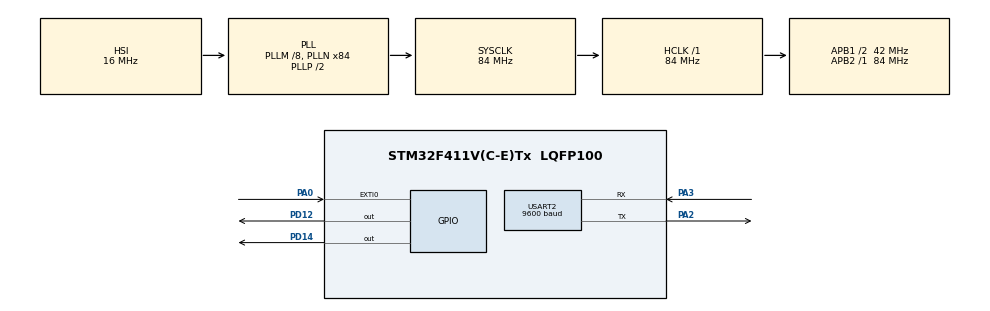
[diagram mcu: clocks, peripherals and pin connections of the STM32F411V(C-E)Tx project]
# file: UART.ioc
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Mcu.Family=STM32F4
Mcu.Name=STM32F411V(C-E)Tx
Mcu.Package=LQFP100
NVIC.EXTI0_IRQn=true\:0\:0\:false\:false\:true\:true\:true\:true
NVIC.PriorityGroup=NVIC_PRIORITYGROUP_0
NVIC.TIM2_IRQn=true\:0\:0\:false\:false\:true\:true\:true\:true
NVIC.USART2_IRQn=true\:0\:0\:false\:false\:true\:true\:true\:true
PA0-WKUP.GPIO_PuPd=GPIO_PULLDOWN
PA0-WKUP.Signal=GPXTI0
PA2.Mode=Asynchronous
PA2.Signal=USART2_TX
PA3.Mode=Asynchronous
PA3.Signal=USART2_RX
PD12.GPIO_PuPd=GPIO_NOPULL
PD12.Signal=GPIO_Output
PD13.Signal=S_TIM4_CH2
PD14.Signal=GPIO_Output
ProjectManager.HeapSize=0x200
ProjectManager.StackSize=0x400
ProjectManager.TargetToolchain=STM32CubeIDE
RCC.48MHZClocksFreq_Value=21000000
RCC.AHBFreq_Value=84000000
RCC.APB1CLKDivider=RCC_HCLK_DIV2
RCC.APB1Freq_Value=42000000
RCC.APB1TimFreq_Value=84000000
RCC.APB2Freq_Value=84000000
RCC.APB2TimFreq_Value=84000000
RCC.CortexFreq_Value=84000000
RCC.HCLKFreq_Value=84000000
RCC.HSE_VALUE=8000000
RCC.HSI_VALUE=16000000
RCC.LSE_VALUE=32768
RCC.PLLI2SM=5
RCC.PLLI2SN=200
RCC.PLLM=8
RCC.PLLN=84
RCC.PLLQ=8
RCC.SYSCLKFreq_VALUE=84000000
RCC.SYSCLKSource=RCC_SYSCLKSOURCE_PLLCLK
RCC.VCOOutputFreq_Value=168000000
SH.S_TIM4_CH2.0=TIM4_CH2
TIM2.Period=99
TIM2.Prescaler=8399
TIM4.Period=4999
TIM4.Prescaler=83
USART2.BaudRate=9600
USART2.VirtualMode=VM_ASYNC
VP_TIM2_VS_ClockSourceINT.Mode=Internal
VP_TIM4_VS_ClockSourceINT.Mode=Internal
board=STM32F411E-DISCO

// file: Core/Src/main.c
/* USER CODE BEGIN Header */
/**
  ******************************************************************************
  * @file           : main.c
  * @brief          : Main program body
  ******************************************************************************
  * @attention
  *
  * Copyright (c) 2025 STMicroelectronics.
  * All rights reserved.
  *
  * This software is licensed under terms that can be found in the LICENSE file
  * in the root directory of this software component.
  * If no LICENSE file comes with this software, it is provided AS-IS.
  *
  ******************************************************************************
  */
/* USER CODE END Header */
#include "main.h"

/* USER CODE BEGIN Includes */
#include <stdio.h>
#include <string.h>
#include <stdint.h>
#include <stdlib.h>
/* USER CODE END Includes */

/* USER CODE BEGIN PD */
#define DEBOUNCE  250
#define PWM_MAX   4999
/* USER CODE END PD */

TIM_HandleTypeDef htim2;
TIM_HandleTypeDef htim4;

UART_HandleTypeDef huart2;

/* USER CODE BEGIN PV */
uint8_t rx_char;
char uart_buffer[10];
uint8_t uart_index = 0;

volatile uint8_t led1_state = 0;
volatile uint8_t led3_state = 1;
volatile uint32_t last_btn_tick = 0;
volatile uint32_t led3_period = 1000;
volatile uint32_t led3_counter = 0;
/* USER CODE END PV */

void SystemClock_Config(void);
static void MX_GPIO_Init(void);
static void MX_USART2_UART_Init(void);
static void MX_TIM4_Init(void);
static void MX_TIM2_Init(void);

/* USER CODE BEGIN 0 */
void HAL_GPIO_EXTI_Callback(uint16_t GPIO_Pin)
{
  if(GPIO_Pin == GPIO_PIN_0)
  {
    if(HAL_GetTick() - last_btn_tick> DEBOUNCE)
    {
      HAL_GPIO_TogglePin(GPIOD, GPIO_PIN_12);
      last_btn_tick = HAL_GetTick();
    }
  }
}

void process_uart_command(char *cmd)
{
    if (strcmp(cmd, "D12") == 0) {
      HAL_GPIO_TogglePin(GPIOD, GPIO_PIN_12);
    }
    else if (cmd[strlen(cmd)-1] == 's') {
        cmd[strlen(cmd)-1] = '\0';
        int time = atoi(cmd);
        if (time > 0) {
          led3_period = time * 1000;
        }
    }
    else {
        int pwm = atoi(cmd);
        if (pwm >= 0 && pwm <= 100) {
          __HAL_TIM_SET_COMPARE(&htim4, TIM_CHANNEL_2, pwm * (PWM_MAX / 100));
        }
    }
}

void HAL_UART_RxCpltCallback(UART_HandleTypeDef *huart)
{
  if (huart->Instance == USART2) {
    if (rx_char == ';') {
      uart_buffer[uart_index] = '\0';
      process_uart_command(uart_buffer);
      uart_index = 0;
    } else {
        if (uart_index < sizeof(uart_buffer) - 1) {
          uart_buffer[uart_index++] = rx_char;
        } else {
            uart_index = 0;
        }
    }

    HAL_UART_Receive_IT(&huart2, &rx_char, 1);
  }
}

void HAL_TIM_PeriodElapsedCallback(TIM_HandleTypeDef *htim)
{
  if (htim->Instance == TIM2) {
    led3_counter += 10;  // Timer2 set each 10ms
    if (led3_counter >= led3_period) {
      led3_counter = 0;
      led3_state ^= 1;  // Toggle LED
      HAL_GPIO_WritePin(GPIOD, GPIO_PIN_14, led3_state);
    }
  }
}
/* USER CODE END 0 */

int main(void)
{

  /* MCU Configuration--------------------------------------------------------*/

  /* Reset of all peripherals, Initializes the Flash interface and the Systick. */
  HAL_Init();

  /* Configure the system clock */
  SystemClock_Config();

  /* Initialize all configured peripherals */
  MX_GPIO_Init();
  MX_USART2_UART_Init();
  MX_TIM4_Init();
  MX_TIM2_Init();
  /* USER CODE BEGIN 2 */
  HAL_UART_Receive_IT(&huart2, &rx_char, 1);

  HAL_TIM_Base_Start_IT(&htim2);
  HAL_TIM_Base_Start_IT(&htim4);

  HAL_TIM_PWM_Start(&htim4, TIM_CHANNEL_2);
  /* USER CODE END 2 */

  /* Infinite loop */
  while (1)
  {

  }
}

void SystemClock_Config(void)
{
  RCC_OscInitTypeDef RCC_OscInitStruct = {0};
  RCC_ClkInitTypeDef RCC_ClkInitStruct = {0};

  /** Configure the main internal regulator output voltage
  */
  __HAL_RCC_PWR_CLK_ENABLE();
  __HAL_PWR_VOLTAGESCALING_CONFIG(PWR_REGULATOR_VOLTAGE_SCALE1);

  /** Initializes the RCC Oscillators according to the specified parameters
  * in the RCC_OscInitTypeDef structure.
  */
  RCC_OscInitStruct.OscillatorType = RCC_OSCILLATORTYPE_HSI;
  RCC_OscInitStruct.HSIState = RCC_HSI_ON;
  RCC_OscInitStruct.HSICalibrationValue = RCC_HSICALIBRATION_DEFAULT;
  RCC_OscInitStruct.PLL.PLLState = RCC_PLL_ON;
  RCC_OscInitStruct.PLL.PLLSource = RCC_PLLSOURCE_HSI;
  RCC_OscInitStruct.PLL.PLLM = 8;
  RCC_OscInitStruct.PLL.PLLN = 84;
  RCC_OscInitStruct.PLL.PLLP = RCC_PLLP_DIV2;
  RCC_OscInitStruct.PLL.PLLQ = 8;
  if (HAL_RCC_OscConfig(&RCC_OscInitStruct) != HAL_OK)
  {
    Error_Handler();
  }

  /** Initializes the CPU, AHB and APB buses clocks
  */
  RCC_ClkInitStruct.ClockType = RCC_CLOCKTYPE_HCLK|RCC_CLOCKTYPE_SYSCLK
                              |RCC_CLOCKTYPE_PCLK1|RCC_CLOCKTYPE_PCLK2;
  RCC_ClkInitStruct.SYSCLKSource = RCC_SYSCLKSOURCE_PLLCLK;
  RCC_ClkInitStruct.AHBCLKDivider = RCC_SYSCLK_DIV1;
  RCC_ClkInitStruct.APB1CLKDivider = RCC_HCLK_DIV2;
  RCC_ClkInitStruct.APB2CLKDivider = RCC_HCLK_DIV1;

  if (HAL_RCC_ClockConfig(&RCC_ClkInitStruct, FLASH_LATENCY_2) != HAL_OK)
  {
    Error_Handler();
  }
}

static void MX_TIM2_Init(void)
{

  TIM_ClockConfigTypeDef sClockSourceConfig = {0};
  TIM_MasterConfigTypeDef sMasterConfig = {0};

  htim2.Instance = TIM2;
  htim2.Init.Prescaler = 83;
  htim2.Init.CounterMode = TIM_COUNTERMODE_UP;
  htim2.Init.Period = 4999;
  htim2.Init.ClockDivision = TIM_CLOCKDIVISION_DIV1;
  htim2.Init.AutoReloadPreload = TIM_AUTORELOAD_PRELOAD_DISABLE;
  if (HAL_TIM_Base_Init(&htim2) != HAL_OK)
  {
    Error_Handler();
  }
  sClockSourceConfig.ClockSource = TIM_CLOCKSOURCE_INTERNAL;
  if (HAL_TIM_ConfigClockSource(&htim2, &sClockSourceConfig) != HAL_OK)
  {
    Error_Handler();
  }
  sMasterConfig.MasterOutputTrigger = TIM_TRGO_RESET;
  sMasterConfig.MasterSlaveMode = TIM_MASTERSLAVEMODE_DISABLE;
  if (HAL_TIMEx_MasterConfigSynchronization(&htim2, &sMasterConfig) != HAL_OK)
  {
    Error_Handler();
  }

}

static void MX_TIM4_Init(void)
{

  /* USER CODE BEGIN TIM4_Init 0 */
	TIM_OC_InitTypeDef sConfigOC = {0};  // ✅ Khai báo biến cấu hình PWM output

  /* USER CODE END TIM4_Init 0 */

  TIM_ClockConfigTypeDef sClockSourceConfig = {0};
  TIM_MasterConfigTypeDef sMasterConfig = {0};

  htim4.Instance = TIM4;
  htim4.Init.Prescaler = 83;
  htim4.Init.CounterMode = TIM_COUNTERMODE_UP;
  htim4.Init.Period = 4999;
  htim4.Init.ClockDivision = TIM_CLOCKDIVISION_DIV1;
  htim4.Init.AutoReloadPreload = TIM_AUTORELOAD_PRELOAD_DISABLE;
  if (HAL_TIM_Base_Init(&htim4) != HAL_OK)
  {
    Error_Handler();
  }
  sClockSourceConfig.ClockSource = TIM_CLOCKSOURCE_INTERNAL;
  if (HAL_TIM_ConfigClockSource(&htim4, &sClockSourceConfig) != HAL_OK)
  {
    Error_Handler();
  }
  sMasterConfig.MasterOutputTrigger = TIM_TRGO_RESET;
  sMasterConfig.MasterSlaveMode = TIM_MASTERSLAVEMODE_DISABLE;
  if (HAL_TIMEx_MasterConfigSynchronization(&htim4, &sMasterConfig) != HAL_OK)
  {
    Error_Handler();
  }
  /* USER CODE BEGIN TIM4_Init 2 */
  // PWM OUTPUT
  sConfigOC.OCMode = TIM_OCMODE_PWM1;
  sConfigOC.Pulse = 0;  // start from 0
  sConfigOC.OCPolarity = TIM_OCPOLARITY_HIGH;
  sConfigOC.OCFastMode = TIM_OCFAST_DISABLE;
  if (HAL_TIM_PWM_ConfigChannel(&htim4, &sConfigOC, TIM_CHANNEL_2) != HAL_OK)
  {
    Error_Handler();
  }
  /* USER CODE END TIM4_Init 2 */

}

static void MX_USART2_UART_Init(void)
{

  huart2.Instance = USART2;
  huart2.Init.BaudRate = 9600;
  huart2.Init.WordLength = UART_WORDLENGTH_8B;
  huart2.Init.StopBits = UART_STOPBITS_1;
  huart2.Init.Parity = UART_PARITY_NONE;
  huart2.Init.Mode = UART_MODE_TX_RX;
  huart2.Init.HwFlowCtl = UART_HWCONTROL_NONE;
  huart2.Init.OverSampling = UART_OVERSAMPLING_16;
  if (HAL_UART_Init(&huart2) != HAL_OK)
  {
    Error_Handler();
  }

}

static void MX_GPIO_Init(void)
{
  GPIO_InitTypeDef GPIO_InitStruct = {0};

  /* GPIO Ports Clock Enable */
  __HAL_RCC_GPIOA_CLK_ENABLE();
  __HAL_RCC_GPIOD_CLK_ENABLE();

  /*Configure GPIO pin Output Level */
  HAL_GPIO_WritePin(GPIOD, GPIO_PIN_12|GPIO_PIN_14, GPIO_PIN_RESET);

  /*Configure GPIO pin : PA0 */
  GPIO_InitStruct.Pin = GPIO_PIN_0;
  GPIO_InitStruct.Mode = GPIO_MODE_IT_RISING;
  GPIO_InitStruct.Pull = GPIO_PULLDOWN;
  HAL_GPIO_Init(GPIOA, &GPIO_InitStruct);

  /*Configure GPIO pins : PD12 PD14 */
  GPIO_InitStruct.Pin = GPIO_PIN_12|GPIO_PIN_14;
  GPIO_InitStruct.Mode = GPIO_MODE_OUTPUT_PP;
  GPIO_InitStruct.Pull = GPIO_NOPULL;
  GPIO_InitStruct.Speed = GPIO_SPEED_FREQ_LOW;
  HAL_GPIO_Init(GPIOD, &GPIO_InitStruct);

  // PD13 = TIM4_CH2 = PWM
  GPIO_InitStruct.Pin = GPIO_PIN_13;
  GPIO_InitStruct.Mode = GPIO_MODE_AF_PP;
  GPIO_InitStruct.Pull = GPIO_NOPULL;
  GPIO_InitStruct.Speed = GPIO_SPEED_FREQ_LOW;
  GPIO_InitStruct.Alternate = GPIO_AF2_TIM4;

  HAL_GPIO_Init(GPIOD, &GPIO_InitStruct);
  /* EXTI interrupt init*/
  HAL_NVIC_SetPriority(EXTI0_IRQn, 0, 0);
  HAL_NVIC_EnableIRQ(EXTI0_IRQn);

}

void Error_Handler(void)
{
  __disable_irq();
  while (1)
  {
  }
}
